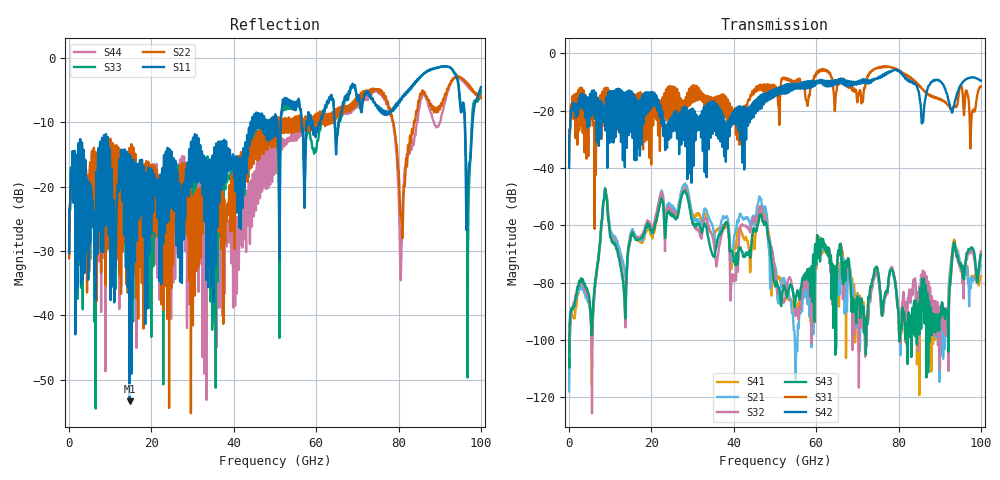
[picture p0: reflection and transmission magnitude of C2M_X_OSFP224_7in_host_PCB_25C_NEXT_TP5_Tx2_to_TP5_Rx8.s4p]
# GHz S RI R 45
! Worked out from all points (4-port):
!   4000 points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, 25 MHz to 100 GHz, reference 45 ohm
!   strongest paths, dB at 25 MHz, 25.02 GHz, 50.02 GHz, 75.03 GHz, 100 GHz:
!     S42: -40.0, -22.0, -12.5, -8.8, -9.6
!     S31: -38.3, -14.7, -11.4, -4.9, -11.6
!     S43: -106.3, -56.6, -81.2, -76.4, -70.2
!     S32: -104.3, -55.1, -77.3, -78.2, -69.2
!     S21: -118.0, -53.6, -74.1, -78.2, -74.1
!     S41: -100.3, -55.0, -75.9, -76.3, -77.8
!   lowest |S11| = -53.3 dB at 14.7 GHz (marker M1), VSWR 1.00, Z = 45.2 + j0.0644 ohm
!   |S11| at or under -10 dB: start of sweep to 44.11 GHz; 59.15 GHz to 61.04 GHz (1.886 GHz wide, 3.14 % of centre); 96.08 GHz to 98 GHz (1.927 GHz wide, 1.99 % of centre) (the widest 3 of 23)
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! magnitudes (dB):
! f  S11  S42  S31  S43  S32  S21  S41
! 25 MHz  -30.3  -40.0  -38.3  -106.3  -104.3  -118.0  -100.3
! 8.75 GHz  -25.2  -20.1  -22.9  -47.4  -47.3  -47.0  -47.2
! 14.7 GHz  -53.3  -12.9  -20.9  -66.4  -67.0  -65.6  -64.9
! 28.15 GHz  -23.3  -23.7  -19.1  -48.1  -47.3  -45.4  -46.2
! 39.62 GHz  -17.4  -21.2  -22.7  -69.2  -77.3  -72.3  -73.2
! 46.4 GHz  -8.7  -16.2  -10.9  -56.4  -53.6  -50.8  -54.6
! 100 GHz  -4.6  -9.6  -11.6  -70.2  -69.2  -74.1  -77.8
